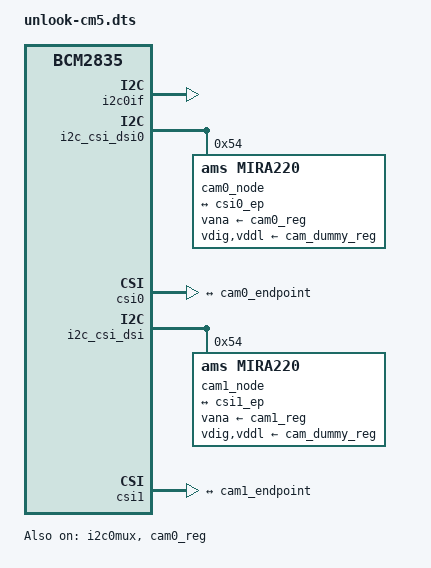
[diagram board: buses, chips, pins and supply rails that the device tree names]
// SPDX-License-Identifier: GPL-2.0-only
/*
 * Unlook CM5 Stereo Camera Overlay
 *
 * Dual MIRA220 (ams-OSRAM) global shutter sensors on CM5 carrier board.
 *   CAM0 (J4) = MASTER on CSI0 (i2c@88000 / csi@110000)
 *   CAM1 (J2) = SLAVE  on CSI1 (i2c@70000 / csi@128000)
 *
 * Hardware sync: master generates ILLUM_TRIGGER + FRAME_TRIGG via JST cable
 * to slave sensor. Slave runs in external trigger mode (reg 0x1003 = 0x08).
 *
 * Copyright (C) 2026, Supernova Industries
 */

/dts-v1/;
/plugin/;

#include <dt-bindings/gpio/gpio.h>

/ {
	compatible = "brcm,bcm2835";

	/* ============================================================
	 * I2C mux and interface — enable both ports
	 * ============================================================ */

	fragment@0 {
		target = <&i2c0if>;
		__overlay__ {
			status = "okay";
		};
	};

	fragment@1 {
		target = <&i2c0mux>;
		__overlay__ {
			status = "okay";
		};
	};

	/* ============================================================
	 * CAM0 — MASTER (CSI0, i2c@88000, csi@110000)
	 * ============================================================ */

	/* Clock for CAM0 */
	fragment@10 {
		target = <&cam0_clk>;
		__overlay__ {
			status = "okay";
			clock-frequency = <38400000>;
		};
	};

	/* Force cam0_reg always-on (GPIO 34 HIGH) */
	fragment@11 {
		target = <&cam0_reg>;
		__overlay__ {
			regulator-always-on;
			status = "okay";
		};
	};

	/* MIRA220 master on i2c_csi_dsi0 (i2c@88000) */
	fragment@12 {
		target = <&i2c_csi_dsi0>;
		__overlay__ {
			#address-cells = <1>;
			#size-cells = <0>;
			status = "okay";

			cam0_node: mira220@54 {
				compatible = "ams,mira220";
				reg = <0x54>;
				status = "okay";

				clocks = <&cam0_clk>;
				clock-names = "xclk";

				vana-supply = <&cam0_reg>;
				vdig-supply = <&cam_dummy_reg>;
				vddl-supply = <&cam_dummy_reg>;

				rotation = <0>;
				orientation = <2>;

				/* Master: free-running (default) */
				ams,trigger-mode = <0>;

				port {
					cam0_endpoint: endpoint {
						remote-endpoint = <&csi0_ep>;
						clock-lanes = <0>;
						data-lanes = <1 2>;
						link-frequencies =
							/bits/ 64 <750000000>;
					};
				};
			};
		};
	};

	/* CSI0 endpoint */
	fragment@13 {
		target = <&csi0>;
		__overlay__ {
			status = "okay";

			port {
				csi0_ep: endpoint {
					remote-endpoint = <&cam0_endpoint>;
					clock-lanes = <0>;
					data-lanes = <1 2>;
				};
			};
		};
	};

	/* ============================================================
	 * CAM1 — SLAVE (CSI1, i2c@70000, csi@128000)
	 * ============================================================ */

	/* Clock for CAM1 */
	fragment@20 {
		target = <&cam1_clk>;
		__overlay__ {
			status = "okay";
			clock-frequency = <38400000>;
		};
	};

	/* MIRA220 slave on i2c_csi_dsi (i2c@70000) */
	fragment@22 {
		target = <&i2c_csi_dsi>;
		__overlay__ {
			#address-cells = <1>;
			#size-cells = <0>;
			status = "okay";

			cam1_node: mira220@54 {
				compatible = "ams,mira220";
				reg = <0x54>;
				status = "okay";

				clocks = <&cam1_clk>;
				clock-names = "xclk";

				vana-supply = <&cam1_reg>;
				vdig-supply = <&cam_dummy_reg>;
				vddl-supply = <&cam_dummy_reg>;

				rotation = <0>;
				orientation = <2>;

				/* Slave: external trigger mode */
				ams,trigger-mode = <1>;

				port {
					cam1_endpoint: endpoint {
						remote-endpoint = <&csi1_ep>;
						clock-lanes = <0>;
						data-lanes = <1 2>;
						link-frequencies =
							/bits/ 64 <750000000>;
					};
				};
			};
		};
	};

	/* CSI1 endpoint */
	fragment@23 {
		target = <&csi1>;
		__overlay__ {
			status = "okay";

			port {
				csi1_ep: endpoint {
					remote-endpoint = <&cam1_endpoint>;
					clock-lanes = <0>;
					data-lanes = <1 2>;
				};
			};
		};
	};
};
